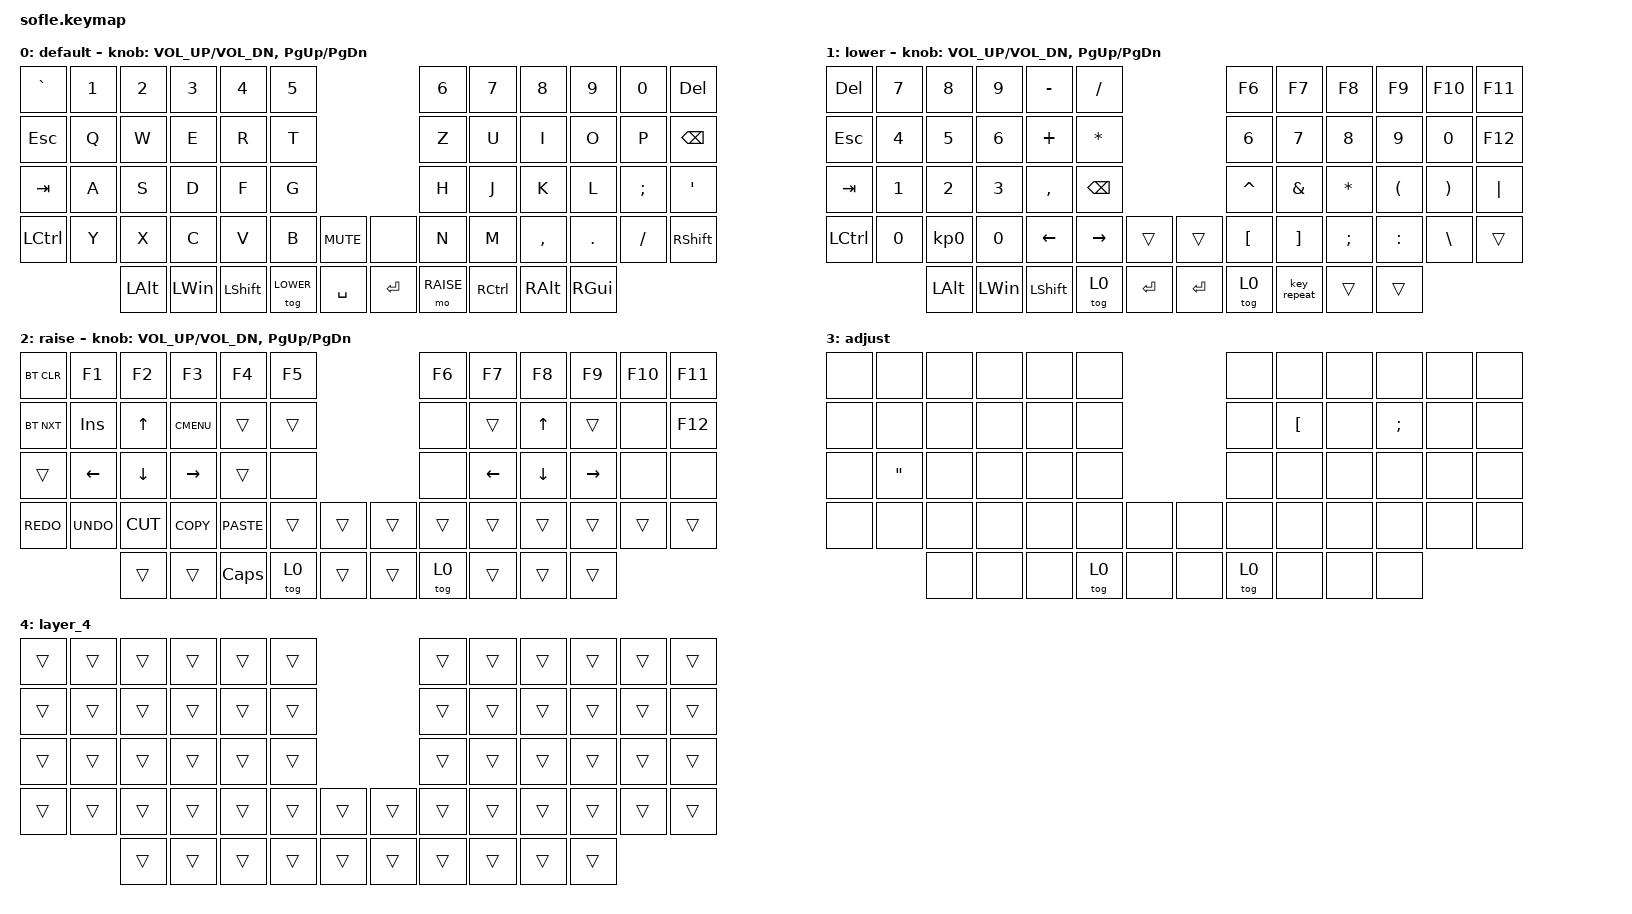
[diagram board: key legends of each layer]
/*
 * Copyright (c) 2020 The ZMK Contributors
 *
 * SPDX-License-Identifier: MIT
 */

#include <behaviors.dtsi>
#include <dt-bindings/zmk/bt.h>
#include <dt-bindings/zmk/keys.h>

#define BASE 0
#define LOWER 1
#define RAISE 2
#define ADJUST 3

/ {
    // Activate ADJUST layer by pressing raise and lower

    conditional_layers {
        compatible = "zmk,conditional-layers";

        adjust_layer {
            if-layers = <LOWER RAISE>;
            then-layer = <ADJUST>;
        };
    };

    combos {
        compatible = "zmk,combos";

        test {
            bindings = <&kp K_CALC>;
            key-positions = <0 12>;
        };

        tog3 {
            bindings = <&tog 3>;
            key-positions = <53 56>;
        };
    };

    macros {
        new_macro: new_macro {
            compatible = "zmk,behavior-macro";
            #binding-cells = <0>;
            bindings = <&kp DELETE &kp &kp N1 &kp N0 &kp N0>, <&macro_press>;

            label = "NEW_MACRO";
        };
    };

    keymap {
        compatible = "zmk,keymap";

        default_layer {
            display-name = "default";

            // ------------------------------------------------------------------------------------------------------------
            // |   `   |  1  |  2  |  3   |  4   |  5   |                   |  6   |  7    |  8    |  9   |   0   |       |
            // |  ESC  |  Q  |  W  |  E   |  R   |  T   |                   |  Y   |  U    |  I    |  O   |   P   | BKSPC |
            // |  TAB  |  A  |  S  |  D   |  F   |  G   |                   |  H   |  J    |  K    |  L   |   ;   |   '   |
            // | SHIFT |  Z  |  X  |  C   |  V   |  B   |  MUTE  |  |       |  N   |  M    |  ,    |  .   |   /   | SHIFT |
            //               | GUI | ALT  | CTRL | LOWER|  ENTER |  | SPACE | RAISE| CTRL  | ALT   | GUI  |

            bindings = <
&kp GRAVE  &kp N1  &kp N2        &kp N3        &kp N4          &kp N5                               &kp N6     &kp N7     &kp N8     &kp N9    &kp N0    &kp DEL
&kp ESC    &kp Q   &kp W         &kp E         &kp R           &kp T                                &kp Z      &kp U      &kp I      &kp O     &kp P     &kp BSPC
&kp TAB    &kp A   &kp S         &kp D         &kp F           &kp G                                &kp H      &kp J      &kp K      &kp L     &kp SEMI  &kp SQT
&kp LCTRL  &kp Y   &kp X         &kp C         &kp V           &kp B       &kp C_MUTE    &none      &kp N      &kp M      &kp COMMA  &kp DOT   &kp FSLH  &kp RSHFT
                   &kp LEFT_ALT  &kp LEFT_WIN  &kp LEFT_SHIFT  &tog LOWER  &kp SPACE     &kp ENTER  &mo RAISE  &kp RCTRL  &kp RALT   &kp RGUI
            >;

            sensor-bindings = <&inc_dec_kp C_VOL_UP C_VOL_DN &inc_dec_kp PG_UP PG_DN>;
        };

        lower_layer {
            display-name = "lower";

            // TODO: Some binds are waiting for shifted keycode support.
            // ------------------------------------------------------------------------------------------------------------
            // |       |  F1 |  F2 |  F3  |  F4  |  F5  |                   |  F6  |  F7   |  F8   |  F9  |  F10  |  F11  |
            // |   `   |  1  |  2  |  3   |  4   |  5   |                   |  6   |  7    |  8    |  9   |   0   |  F12  |
            // |       |  !  |  @  |  #   |  $   |  %   |                   |  ^   |  &    |  *    |  (   |   )   |   |   |
            // |       |  =  |  -  |  +   |  {   |  }   |        |  |       |  [   |  ]    |  ;    |  :   |   \   |       |
            //               |     |      |      |      |        |  |       |      |       |       |      |

            bindings = <
&kp DEL     &kp N7        &kp N8           &kp N9        &kp MINUS       &kp SLASH                              &kp F6     &kp F7       &kp F8     &kp F9     &kp F10   &kp F11
&kp ESCAPE  &kp NUMBER_4  &kp N5           &kp NUMBER_6  &kp PLUS        &kp ASTERISK                           &kp N6     &kp N7       &kp N8     &kp N9     &kp N0    &kp F12
&kp TAB     &kp NUMBER_1  &kp NUMBER_2     &kp NUMBER_3  &kp COMMA       &kp BACKSPACE                          &kp CARET  &kp AMPS     &kp ASTRK  &kp LPAR   &kp RPAR  &kp PIPE
&kp LCTRL   &kp N0        &kp KP_NUMBER_0  &kp N0        &kp LEFT        &kp RIGHT      &trans       &trans     &kp LBKT   &kp RBKT     &kp SEMI   &kp COLON  &kp BSLH  &trans
                          &kp LEFT_ALT     &kp LEFT_WIN  &kp LEFT_SHIFT  &tog 0         &kp ENTER    &kp ENTER  &tog 0     &key_repeat  &trans     &trans
            >;

            sensor-bindings = <&inc_dec_kp C_VOL_UP C_VOL_DN &inc_dec_kp PG_UP PG_DN>;
        };

        raise_layer {
            display-name = "raise";

            // ------------------------------------------------------------------------------------------------------------
            // | BTCLR | BT1  | BT2  |  BT3  |  BT4  |  BT5 |                |      |      |       |      |       |       |
            // |       | INS  | PSCR | GUI   |       |      |                | PGUP |      |   ^   |      |       |       |
            // |       | ALT  | CTRL | SHIFT |       | CAPS |                | PGDN |   <- |   v   |  ->  |  DEL  | BKSPC |
            // |       | UNDO | CUT  | COPY  | PASTE |      |      |  |      |      |      |       |      |       |       |
            //                |      |       |       |      |      |  |      |      |      |       |      |

            bindings = <
&bt BT_CLR  &kp F1          &kp F2          &kp F3       &kp F4       &kp F5                    &kp F6  &kp F7    &kp F8    &kp F9     &kp F10  &kp F11
&bt BT_NXT  &kp INS         &kp UP_ARROW    &kp K_CMENU  &trans       &trans                    &none   &trans    &kp UP    &trans     &none    &kp F12
&trans      &kp LEFT_ARROW  &kp DOWN_ARROW  &kp RIGHT    &trans       &none                     &none   &kp LEFT  &kp DOWN  &kp RIGHT  &none    &none
&kp K_REDO  &kp K_UNDO      &kp K_CUT       &kp K_COPY   &kp K_PASTE  &trans  &trans    &trans  &trans  &trans    &trans    &trans     &trans   &trans
                            &trans          &trans       &kp CLCK     &tog 0  &trans    &trans  &tog 0  &trans    &trans    &trans
            >;

            sensor-bindings = <&inc_dec_kp C_VOL_UP C_VOL_DN &inc_dec_kp PG_UP PG_DN>;
        };

        adjust_layer {
            // ----------------------------------------------------------------------------------------------------------------------------
            // | BTCLR  |  BT1    |  BT2    |   BT3   |   BT4   |   BT5   |                  |      |      |       |      |       |       |
            // | EXTPWR | RGB_HUD | RGB_HUI | RGB_SAD | RGB_SAI | RGB_EFF |                  |      |      |       |      |       |       |
            // |        | RGB_BRD | RGB_BRI |         |         |         |                  |      |      |       |      |       |       |
            // |        |         |         |         |         |         | RGB_TOG | |      |      |      |       |      |       |       |
            //                    |         |         |         |         |         | |      |      |      |       |      |

            display-name = "adjust";
            bindings = <
&none  &none              &none  &none  &none  &none                   &none   &none             &none  &none     &none  &none
&none  &none              &none  &none  &none  &none                   &none   &kp LEFT_BRACKET  &none  &kp SEMI  &none  &none
&none  &kp DOUBLE_QUOTES  &none  &none  &none  &none                   &none   &none             &none  &none     &none  &none
&none  &none              &none  &none  &none  &none   &none    &none  &none   &none             &none  &none     &none  &none
                          &none  &none  &none  &tog 0  &none    &none  &tog 0  &none             &none  &none
            >;
        };

        layer_4 {
            bindings = <
&trans  &trans  &trans  &trans  &trans  &trans                    &trans  &trans  &trans  &trans  &trans  &trans
&trans  &trans  &trans  &trans  &trans  &trans                    &trans  &trans  &trans  &trans  &trans  &trans
&trans  &trans  &trans  &trans  &trans  &trans                    &trans  &trans  &trans  &trans  &trans  &trans
&trans  &trans  &trans  &trans  &trans  &trans  &trans    &trans  &trans  &trans  &trans  &trans  &trans  &trans
                &trans  &trans  &trans  &trans  &trans    &trans  &trans  &trans  &trans  &trans
            >;
        };
    };
};
